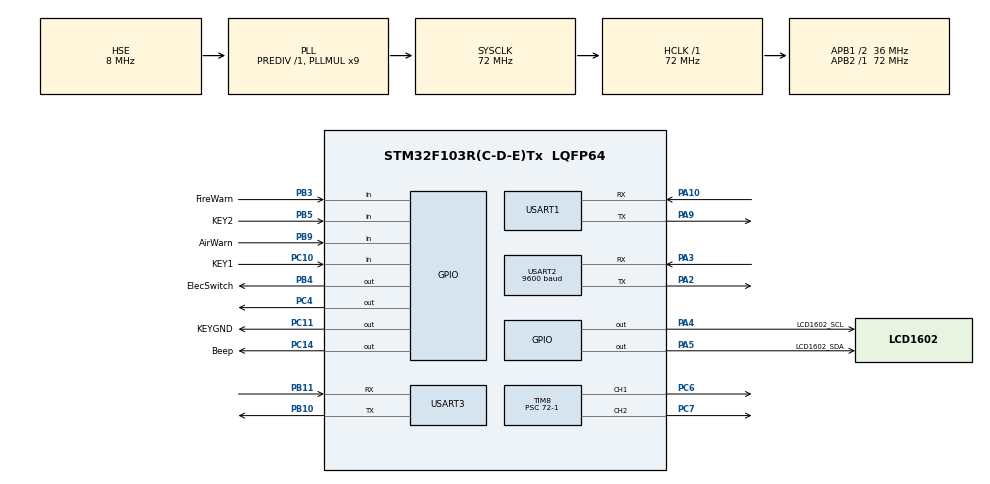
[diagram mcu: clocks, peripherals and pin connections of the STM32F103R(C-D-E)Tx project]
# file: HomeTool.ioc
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Mcu.Family=STM32F1
Mcu.Name=STM32F103R(C-D-E)Tx
Mcu.Package=LQFP64
NVIC.PriorityGroup=NVIC_PRIORITYGROUP_4
NVIC.TIM1_UP_IRQn=true\:0\:0\:false\:false\:true\:true\:true
NVIC.TIM2_IRQn=true\:0\:0\:false\:false\:true\:true\:true
NVIC.USART1_IRQn=true\:0\:0\:false\:false\:true\:true\:true
NVIC.USART2_IRQn=true\:0\:0\:false\:false\:true\:true\:true
PA10.Mode=Asynchronous
PA10.Signal=USART1_RX
PA13.Mode=Serial_Wire
PA13.Signal=SYS_JTMS-SWDIO
PA14.Mode=Serial_Wire
PA14.Signal=SYS_JTCK-SWCLK
PA2.Mode=Asynchronous
PA2.Signal=USART2_TX
PA3.Mode=Asynchronous
PA3.Signal=USART2_RX
PA4.GPIO_Label=LCD1602_SCL
PA4.GPIO_Speed=GPIO_SPEED_FREQ_HIGH
PA4.Signal=GPIO_Output
PA5.GPIO_Label=LCD1602_SDA
PA5.GPIO_Speed=GPIO_SPEED_FREQ_HIGH
PA5.Signal=GPIO_Output
PA9.Mode=Asynchronous
PA9.Signal=USART1_TX
PB10.Mode=Asynchronous
PB10.Signal=USART3_TX
PB11.Mode=Asynchronous
PB11.Signal=USART3_RX
PB3.GPIO_Label=FireWarn
PB3.Signal=GPIO_Input
PB4.GPIO_Label=ElecSwitch
PB4.Signal=GPIO_Output
PB5.GPIO_Label=KEY2
PB5.Signal=GPIO_Input
PB9.GPIO_Label=AirWarn
PB9.Signal=GPIO_Input
PC10.GPIO_Label=KEY1
PC10.GPIO_PuPd=GPIO_NOPULL
PC10.Signal=GPIO_Input
PC11.GPIO_Label=KEYGND
PC11.Signal=GPIO_Output
PC14-OSC32_IN.GPIO_Label=Beep
PC14-OSC32_IN.Signal=GPIO_Output
PC4.Signal=GPIO_Output
PC6.Signal=S_TIM8_CH1
PC7.Signal=S_TIM8_CH2
PD0-OSC_IN.Mode=HSE-External-Oscillator
PD0-OSC_IN.Signal=RCC_OSC_IN
PD1-OSC_OUT.Mode=HSE-External-Oscillator
PD1-OSC_OUT.Signal=RCC_OSC_OUT
ProjectManager.HeapSize=0x200
ProjectManager.StackSize=0x400
ProjectManager.TargetToolchain=MDK-ARM V5.27
RCC.AHBFreq_Value=72000000
RCC.APB1CLKDivider=RCC_HCLK_DIV2
RCC.APB1Freq_Value=36000000
RCC.APB1TimFreq_Value=72000000
RCC.APB2Freq_Value=72000000
RCC.APB2TimFreq_Value=72000000
RCC.HCLKFreq_Value=72000000
RCC.PLLMUL=RCC_PLL_MUL9
RCC.PLLSourceVirtual=RCC_PLLSOURCE_HSE
RCC.SYSCLKFreq_VALUE=72000000
RCC.SYSCLKSource=RCC_SYSCLKSOURCE_PLLCLK
RCC.USBFreq_Value=72000000
SH.S_TIM8_CH1.0=TIM8_CH1,PWM Generation1 CH1
SH.S_TIM8_CH2.0=TIM8_CH2,PWM Generation2 CH2
TIM1.Period=100-1
TIM1.Prescaler=7200-1
TIM2.Period=10-1
TIM2.Prescaler=7200-1
TIM3.AutoReloadPreload=TIM_AUTORELOAD_PRELOAD_ENABLE
TIM3.Period=0xffff
TIM3.Prescaler=72-1
TIM8.Channel-PWM\ Generation1\ CH1=TIM_CHANNEL_1
TIM8.Channel-PWM\ Generation2\ CH2=TIM_CHANNEL_2
TIM8.Period=20000-1
TIM8.Prescaler=72-1
USART1.VirtualMode=VM_ASYNC
USART2.BaudRate=9600
USART2.VirtualMode=VM_ASYNC
USART3.VirtualMode=VM_ASYNC
VP_TIM1_VS_ClockSourceINT.Mode=Internal
VP_TIM2_VS_ClockSourceINT.Mode=Internal
VP_TIM3_VS_ClockSourceINT.Mode=Internal
VP_TIM8_VS_ClockSourceINT.Mode=Internal
board=custom

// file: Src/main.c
/* USER CODE BEGIN Header */
/**
  ******************************************************************************
  * @file           : main.c
  * @brief          : Main program body
  ******************************************************************************
  * @attention
  *
  * <h2><center>&copy; Copyright (c) 2020 STMicroelectronics.
  * All rights reserved.</center></h2>
  *
  * This software component is licensed by ST under BSD 3-Clause license,
  * the "License"; You may not use this file except in compliance with the
  * License. You may obtain a copy of the License at:
  *                        opensource.org/licenses/BSD-3-Clause
  *
  ******************************************************************************
  */
/* USER CODE END Header */

#include "main.h"
#include "tim.h"
#include "usart.h"
#include "gpio.h"

/* USER CODE BEGIN Includes */
#include "stdio.h"
#include "bsp_DHT11.h"
#include "lcd_1602.h"
#include "app.h"
#include "gizwits_protocol.h"
#include "gizwits_product.h"
/* USER CODE END Includes */

/* USER CODE BEGIN PTD */
DHT11_Data_TypeDef DHT11_Data;
char buf1[100];
char buf2[100];
/* USER CODE END PTD */

void SystemClock_Config(void);

int main(void)
{
  /* USER CODE BEGIN 1 */
unsigned int tmp, tick = 0;
  /* USER CODE END 1 */

  /* MCU Configuration--------------------------------------------------------*/

  /* Reset of all peripherals, Initializes the Flash interface and the Systick. */
  HAL_Init();

  /* Configure the system clock */
  SystemClock_Config();

  /* Initialize all configured peripherals */
  MX_GPIO_Init();
  MX_USART1_UART_Init();
  MX_TIM1_Init();
  MX_TIM2_Init();
  MX_TIM3_Init();
  MX_TIM8_Init();
  MX_USART2_UART_Init();
  MX_USART3_UART_Init();
  /* USER CODE BEGIN 2 */
	APP_Init();
	HAL_TIM_Base_Start_IT(&htim3);
	//printf("DHT11高精度温湿度传感器数据读取\n");
	DHT11_Init();
	lcd_init();
	HAL_TIM_Base_Start_IT(&htim1);
	HAL_TIM_PWM_Start(&htim8,TIM_CHANNEL_1);
	HAL_TIM_PWM_Start(&htim8,TIM_CHANNEL_2);
  /* USER CODE END 2 */

  /* Infinite loop */
  while (1)
  {

    /* USER CODE BEGIN 3 */
		/*调用DHT11_Read_TempAndHumidity读取温湿度，若成功则输出该信息*/
//    if(DHT11_Read_TempAndHumidity(&DHT11_Data)==SUCCESS)
//    {
//      printf("读取DHT11成功!-->湿度为%.1f ％RH ，温度为 %.1f℃ \n",DHT11_Data.humidity,DHT11_Data.temperature);
//			sprintf(buf1,"humi:%.1f",DHT11_Data.humidity);
//			lcd_put_cur(0,1);
//			lcd_send_string(buf1);
//			sprintf(buf2,"temp:%.1f",DHT11_Data.temperature);
//			lcd_put_cur(1,1);
//			lcd_send_string(buf2);
//
//    }
//    else
//    {
//      printf("读取DHT11信息失败\n");
//    }
//    HAL_Delay(2000);

		  tmp = HAL_GetTick();
        if(tmp - tick > 1000)
        {
              tick = tmp;
              //APP_Process();
							userHandle();
					sprintf(buf1,"humi:%.1f",DHT11_Data.humidity);
					lcd_put_cur(0,1);
					lcd_send_string(buf1);
					sprintf(buf2,"temp:%.1f",DHT11_Data.temperature);
					lcd_put_cur(1,1);
					lcd_send_string(buf2);
              //printf("APP_Process\n\r");
        }

		gizwitsHandle((dataPoint_t *)&currentDataPoint);
  }
  /* USER CODE END 3 */
}

void SystemClock_Config(void)
{
  RCC_OscInitTypeDef RCC_OscInitStruct = {0};
  RCC_ClkInitTypeDef RCC_ClkInitStruct = {0};

  /** Initializes the CPU, AHB and APB busses clocks
  */
  RCC_OscInitStruct.OscillatorType = RCC_OSCILLATORTYPE_HSE;
  RCC_OscInitStruct.HSEState = RCC_HSE_ON;
  RCC_OscInitStruct.HSEPredivValue = RCC_HSE_PREDIV_DIV1;
  RCC_OscInitStruct.HSIState = RCC_HSI_ON;
  RCC_OscInitStruct.PLL.PLLState = RCC_PLL_ON;
  RCC_OscInitStruct.PLL.PLLSource = RCC_PLLSOURCE_HSE;
  RCC_OscInitStruct.PLL.PLLMUL = RCC_PLL_MUL9;
  if (HAL_RCC_OscConfig(&RCC_OscInitStruct) != HAL_OK)
  {
    Error_Handler();
  }
  /** Initializes the CPU, AHB and APB busses clocks
  */
  RCC_ClkInitStruct.ClockType = RCC_CLOCKTYPE_HCLK|RCC_CLOCKTYPE_SYSCLK
                              |RCC_CLOCKTYPE_PCLK1|RCC_CLOCKTYPE_PCLK2;
  RCC_ClkInitStruct.SYSCLKSource = RCC_SYSCLKSOURCE_PLLCLK;
  RCC_ClkInitStruct.AHBCLKDivider = RCC_SYSCLK_DIV1;
  RCC_ClkInitStruct.APB1CLKDivider = RCC_HCLK_DIV2;
  RCC_ClkInitStruct.APB2CLKDivider = RCC_HCLK_DIV1;

  if (HAL_RCC_ClockConfig(&RCC_ClkInitStruct, FLASH_LATENCY_2) != HAL_OK)
  {
    Error_Handler();
  }
}

void Error_Handler(void)
{
}

/************************ (C) COPYRIGHT STMicroelectronics *****END OF FILE****/
